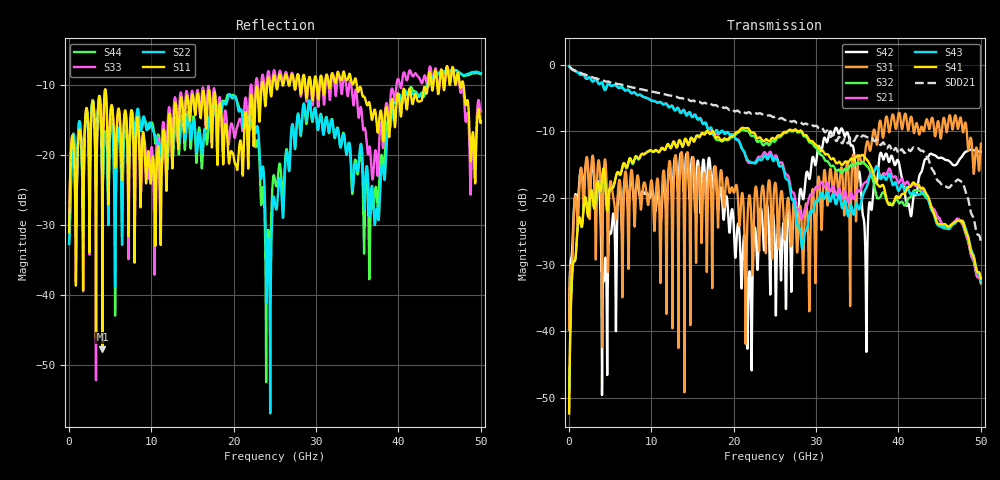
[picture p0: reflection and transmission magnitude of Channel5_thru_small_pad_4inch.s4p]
! Created Mon Jul 15 18:13:45 2019
# hz S ma R 50
! 4 Port Network Data from SP1.SP block
! freq  magS11  angS11  magS12  angS12  magS13  angS13  magS14  angS14
!  magS21  angS21  magS22  angS22  magS23  angS23  magS24  angS24
!  magS31  angS31  magS32  angS32  magS33  angS33  magS34  angS34
!  magS41  angS41  magS42  angS42  magS43  angS43  magS44  angS44
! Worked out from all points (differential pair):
!   4996 points, 50 MHz to 50 GHz, reference 50 ohm
!   strongest paths, dB at 50 MHz, 12.54 GHz, 25.03 GHz, 37.52 GHz, 50 GHz:
!     S41: -52.3, -12.1, -11.1, -18.1, -32.1
!     S43: -0.2, -6.2, -14.1, -15.7, -32.5
!     S21: -0.2, -6.2, -13.7, -15.7, -32.7
!     S32: -52.3, -12.1, -11.5, -20.1, -32.9
!     S31: -39.7, -26.8, -17.7, -10.8, -11.9
!     S42: -39.7, -19.8, -29.3, -16.2, -13.1
!   taken as a pair (ports 3,1 in; 4,2 out), SDD21 dB: -0.2, -4.7, -7.8, -11.4, -26.5
!   lowest |S11| = -47.8 dB at 4.09 GHz (marker M1), VSWR 1.01, Z = 49.6 - j0.126 ohm
!   |S11| at or under -10 dB: start of sweep to 23.42 GHz; 34.94 GHz to 43.56 GHz (8.622 GHz wide, 22 % of centre); 47.89 GHz to end of sweep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
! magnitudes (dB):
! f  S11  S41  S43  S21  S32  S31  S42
! 50 MHz  -31.1  -52.3  -0.2  -0.2  -52.3  -39.7  -39.7
! 2.16 GHz  -13.3  -20.8  -2.1  -2.1  -20.9  -13.9  -14.6
! 4.09 GHz  -47.8  -16.7  -2.8  -2.8  -16.7  -30.8  -37.4
! 20.15 GHz  -21.3  -10.4  -10.9  -10.9  -10.6  -18.9  -28.0
! 24.25 GHz  -9.0  -11.5  -14.0  -13.4  -12.1  -17.5  -23.6
! 28.53 GHz  -8.6  -10.5  -26.0  -22.1  -10.7  -26.9  -19.8
! 50 GHz  -15.2  -32.1  -32.5  -32.7  -32.9  -11.9  -13.1
